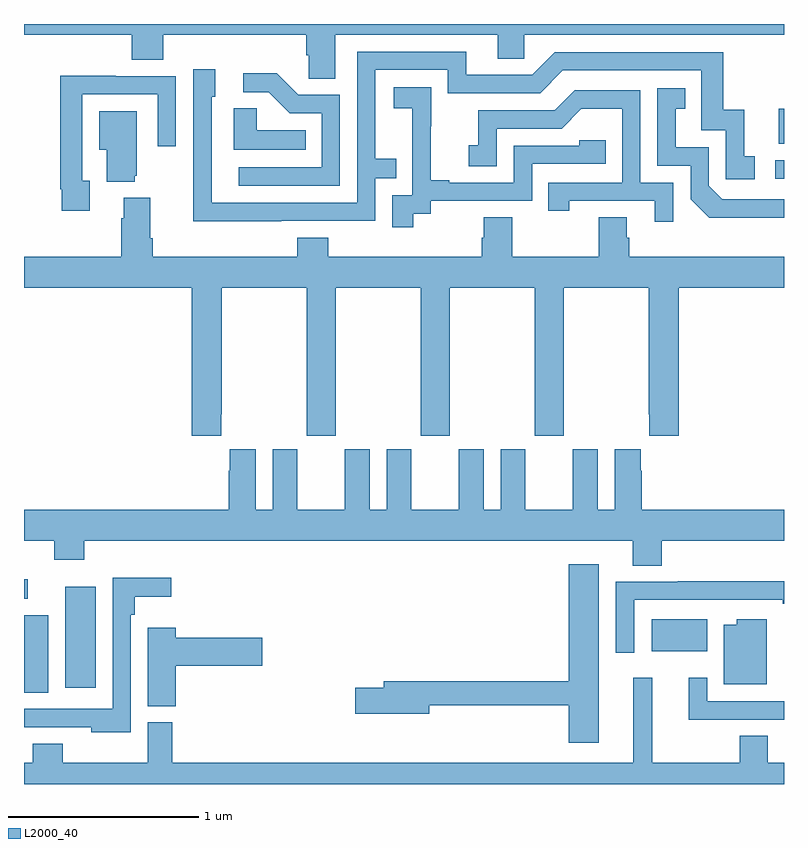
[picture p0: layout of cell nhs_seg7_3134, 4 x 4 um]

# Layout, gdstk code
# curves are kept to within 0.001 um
import gdstk
lib = gdstk.Library(unit=1e-6, precision=1e-09)
def R(c, l, rs):  # rectangles x0, y0, x1, y1
    for r in rs: c.add(gdstk.rectangle(r[:2], r[2:], *l))
def P(c, l, *ps):  # polygons
    for p in ps: c.add(gdstk.Polygon(p, *l))
L2000_40 = (2000, 40)

nhs_seg7_3134 = lib.new_cell('nhs_seg7_3134')
R(nhs_seg7_3134, L2000_40, [(311,1002.481,311.128,1002.889), (311.216,1002.507,311.377,1003.039), (314.303,1002.698,314.596,1002.868), (311,1002.974,311.02,1003.078), (314.955,1005.186,315,1005.282), (314.972,1005.371,315,1005.553)])
P(nhs_seg7_3134, L2000_40, [(312.637,1005.944),(313.493,1005.944),(313.493,1005.817),(313.632,1005.817),(313.632,1005.944),(315,1005.944),(315,1006),(311,1006),(311,1005.944),(311.567,1005.944),(311.567,1005.811),(311.732,1005.811),(311.732,1005.944),(312.485,1005.944),(312.485,1005.835),(312.498,1005.835),(312.498,1005.712),(312.637,1005.712)],
  [(312.353,1004.964),(312.849,1004.964),(312.849,1005.189),(312.959,1005.189),(312.959,1005.29),(312.849,1005.29),(312.849,1005.759),(313.23,1005.759),(313.23,1005.636),(313.716,1005.636),(313.836,1005.756),(314.565,1005.756),(314.565,1005.441),(314.694,1005.441),(314.694,1005.183),(314.845,1005.183),(314.845,1005.303),(314.792,1005.303),(314.792,1005.55),(314.681,1005.55),(314.681,1005.852),(313.794,1005.852),(313.674,1005.732),(313.327,1005.732),(313.327,1005.855),(312.753,1005.855),(312.753,1005.06),(311.988,1005.06),(311.988,1005.618),(312.007,1005.618),(312.007,1005.763),(311.892,1005.763),(311.892,1005.269),(311.89,1005.269),(311.89,1004.963)],
  [(312.663,1005.627),(312.444,1005.627),(312.331,1005.74),(312.153,1005.74),(312.153,1005.642),(312.287,1005.642),(312.398,1005.531),(312.567,1005.531),(312.567,1005.246),(312.129,1005.246),(312.129,1005.15),(312.663,1005.15)],
  [(311.347,1005.174),(311.307,1005.174),(311.307,1005.63),(311.703,1005.63),(311.703,1005.357),(311.799,1005.357),(311.799,1005.726),(311.483,1005.726),(311.483,1005.728),(311.191,1005.728),(311.191,1005.13),(311.199,1005.13),(311.199,1005.018),(311.347,1005.018)],
  [(313.048,1005.001),(313.14,1005.001),(313.14,1005.069),(313.674,1005.069),(313.674,1005.264),(314.063,1005.264),(314.063,1005.387),(313.923,1005.387),(313.923,1005.36),(313.578,1005.36),(313.578,1005.165),(313.237,1005.165),(313.237,1005.178),(313.142,1005.178),(313.142,1005.461),(313.143,1005.461),(313.143,1005.667),(312.945,1005.667),(312.945,1005.557),(313.043,1005.557),(313.043,1005.329),(313.044,1005.329),(313.044,1005.099),(312.939,1005.099),(312.939,1004.931),(313.048,1004.931)],
  [(315,1005.078),(314.676,1005.078),(314.604,1005.15),(314.604,1005.351),(314.431,1005.351),(314.431,1005.555),(314.48,1005.555),(314.48,1005.661),(314.334,1005.661),(314.334,1005.255),(314.508,1005.255),(314.508,1005.078),(314.606,1004.981),(315,1004.981)],
  [(314.418,1005.165),(314.244,1005.165),(314.244,1005.651),(313.898,1005.651),(313.793,1005.546),(313.39,1005.546),(313.39,1005.361),(313.341,1005.361),(313.341,1005.252),(313.488,1005.252),(313.488,1005.45),(313.83,1005.45),(313.934,1005.554),(314.148,1005.554),(314.148,1005.165),(313.759,1005.165),(313.759,1005.018),(313.87,1005.018),(313.87,1005.069),(314.321,1005.069),(314.321,1004.958),(314.418,1004.958)],
  [(312.482,1005.442),(312.225,1005.442),(312.225,1005.557),(312.104,1005.557),(312.104,1005.338),(312.482,1005.338)],
  [(311.582,1005.201),(311.593,1005.201),(311.593,1005.541),(311.396,1005.541),(311.396,1005.338),(311.435,1005.338),(311.435,1005.17),(311.582,1005.17)],
  [(312.037,1003.945),(312.042,1003.945),(312.042,1004.612),(312.487,1004.612),(312.487,1003.833),(312.642,1003.833),(312.642,1004.612),(313.087,1004.612),(313.087,1003.833),(313.242,1003.833),(313.242,1004.612),(313.687,1004.612),(313.687,1003.833),(313.842,1003.833),(313.842,1004.612),(314.287,1004.612),(314.287,1003.945),(314.291,1003.945),(314.291,1003.833),(314.447,1003.833),(314.447,1004.612),(315,1004.612),(315,1004.776),(314.186,1004.776),(314.186,1004.874),(314.173,1004.874),(314.173,1004.984),(314.026,1004.984),(314.026,1004.776),(313.569,1004.776),(313.569,1004.984),(313.421,1004.984),(313.421,1004.874),(313.409,1004.874),(313.409,1004.776),(312.602,1004.776),(312.602,1004.875),(312.437,1004.875),(312.437,1004.776),(311.678,1004.776),(311.678,1004.872),(311.665,1004.872),(311.665,1005.085),(311.525,1005.085),(311.525,1004.978),(311.513,1004.978),(311.513,1004.776),(311,1004.776),(311,1004.612),(311.882,1004.612),(311.882,1003.833),(312.037,1003.833)],
  [(314.108,1003.762),(314.108,1003.444),(314.02,1003.444),(314.02,1003.762),(313.889,1003.762),(313.889,1003.444),(313.639,1003.444),(313.639,1003.762),(313.508,1003.762),(313.508,1003.444),(313.42,1003.444),(313.42,1003.762),(313.289,1003.762),(313.289,1003.444),(313.039,1003.444),(313.039,1003.762),(312.908,1003.762),(312.908,1003.444),(312.82,1003.444),(312.82,1003.762),(312.689,1003.762),(312.689,1003.444),(312.439,1003.444),(312.439,1003.762),(312.308,1003.762),(312.308,1003.444),(312.22,1003.444),(312.22,1003.762),(312.083,1003.762),(312.083,1003.649),(312.077,1003.649),(312.077,1003.444),(311,1003.444),(311,1003.28),(311.158,1003.28),(311.158,1003.181),(311.318,1003.181),(311.318,1003.28),(314.204,1003.28),(314.204,1003.15),(314.357,1003.15),(314.357,1003.28),(315,1003.28),(315,1003.444),(314.252,1003.444),(314.252,1003.649),(314.245,1003.649),(314.245,1003.762)],
  [(314.026,1003.156),(313.868,1003.156),(313.868,1002.542),(312.893,1002.542),(312.893,1002.506),(312.744,1002.506),(312.744,1002.371),(313.132,1002.371),(313.132,1002.414),(313.868,1002.414),(313.868,1002.216),(314.026,1002.216)],
  [(311.562,1002.89),(311.582,1002.89),(311.582,1002.986),(311.776,1002.986),(311.776,1003.085),(311.466,1003.085),(311.466,1002.396),(311,1002.396),(311,1002.3),(311.355,1002.3),(311.355,1002.272),(311.562,1002.272)],
  [(314.211,1002.969),(314.993,1002.969),(314.993,1002.949),(315,1002.949),(315,1003.067),(314.44,1003.067),(314.44,1003.065),(314.115,1003.065),(314.115,1002.69),(314.211,1002.69)],
  [(314.908,1002.868),(314.75,1002.868),(314.75,1002.838),(314.684,1002.838),(314.684,1002.524),(314.908,1002.524)],
  [(311.798,1002.623),(312.253,1002.623),(312.253,1002.77),(311.798,1002.77),(311.798,1002.823),(311.651,1002.823),(311.651,1002.409),(311.798,1002.409)],
  [(315,1002.112),(314.914,1002.112),(314.914,1002.254),(314.767,1002.254),(314.767,1002.112),(314.306,1002.112),(314.306,1002.559),(314.207,1002.559),(314.207,1002.112),(311.78,1002.112),(311.78,1002.324),(311.651,1002.324),(311.651,1002.112),(311.205,1002.112),(311.205,1002.211),(311.045,1002.211),(311.045,1002.112),(311,1002.112),(311,1002),(315,1002)],
  [(315,1002.435),(314.595,1002.435),(314.595,1002.559),(314.498,1002.559),(314.498,1002.339),(315,1002.339)])

lib.write_gds('nhs_seg7_3134.gds')
